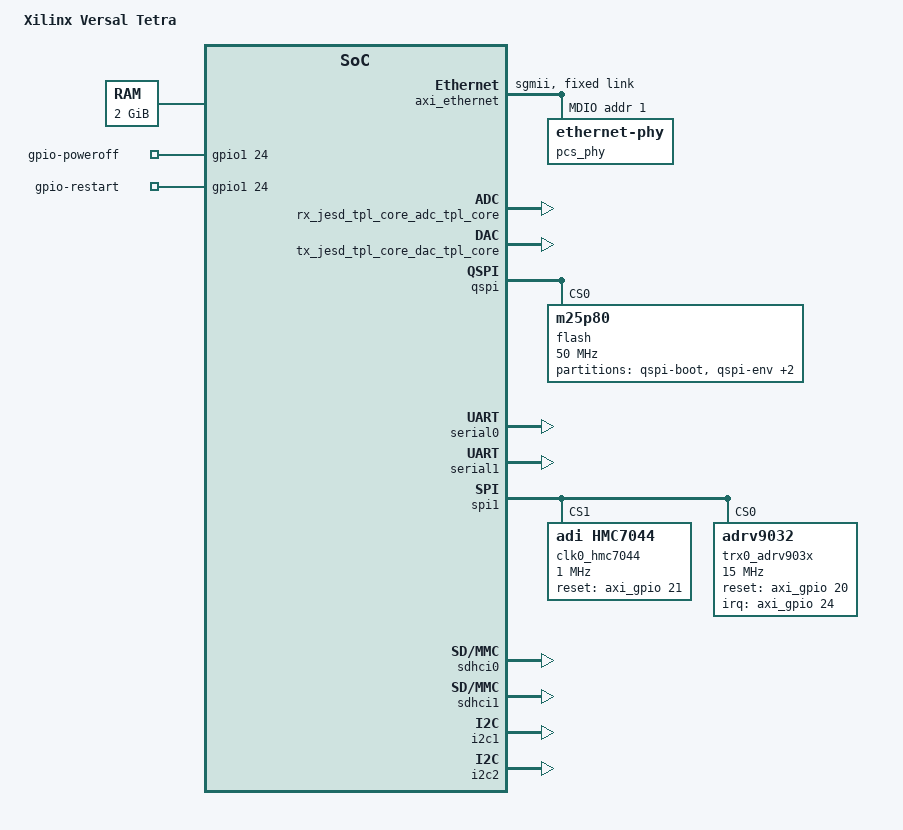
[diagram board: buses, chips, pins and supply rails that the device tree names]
// SPDX-License-Identifier: GPL-2.0
/*
 * dts file for Xilinx Versal Tetra
 *
 * (C) Copyright 2026, Analog Devices Inc.
 */

#include "versal.dtsi"
#include "versal-clk.dtsi"
#include <dt-bindings/interrupt-controller/irq.h>
#include <dt-bindings/iio/adc/adi,adrv903x.h>
#include <dt-bindings/iio/frequency/hmc7044.h>

/* RX path */
#define ADRV903X_RX_LANERATE_KHZ 16220160
#define ADRV903X_RX_LINK_CLK	245760000

/* TX path */
#define ADRV903X_TX_LANERATE_KHZ 16220160
#define ADRV903X_TX_LINK_CLK	245760000

#define ADRV903X_RX_DEVICE_CLK  122880000

/ {
	compatible = "xlnx,versal-tetra", "xlnx,versal";
	model = "Xilinx Versal Tetra";

	memory: memory@0 {
		device_type = "memory";
		reg = <0 0 0 0x80000000>;  /* 2GB */
	};

	chosen {
		bootargs = "console=ttyAMA1,115200 earlycon=pl011,mmio32,0xFF010000,115200n8 root=/dev/mmcblk0p2 rw rootfstype=ext4 rootwait";
		stdout-path = "serial1:115200";
	};

	gpio-poweroff {
		compatible = "gpio-poweroff";
		gpios = <&gpio1 24 0>;
	};

	gpio-restart {
		compatible = "gpio-restart";
		gpios = <&gpio1 24 0>;
	};


	aliases {
		serial0 = &serial0;
		serial1 = &serial1;
		spi0 = &qspi;
		spi1 = &spi1;
		mmc0 = &sdhci0;
		mmc1 = &sdhci1;
		ethernet0 = &axi_ethernet;
	};
};

&qspi {
	status = "okay";
	is-dual = <0>;
	num-cs = <1>;
	spi-rx-bus-width = <4>;
	spi-tx-bus-width = <4>;

	flash@0 {
		compatible = "m25p80", "jedec,spi-nor"; /* MT25QU02GCBB8E12-0AUT 2Gib */
		#address-cells = <1>;
		#size-cells = <1>;
		reg = <0>;
		spi-tx-bus-width = <4>;
		spi-rx-bus-width = <4>;
		spi-max-frequency = <50000000>;

		partition@0 {
			label = "qspi-boot";
			reg = <0x0 0x800000>; /* 8MB - boot.bin */
		};
		partition@800000 {
			label = "qspi-env";
			reg = <0x800000 0x40000>; /* 256KB - U-Boot env */
		};
		partition@840000 {
			label = "qspi-kernel";
			reg = <0x840000 0x17C0000>; /* ~23.75MB - kernel/dtb */
		};
		partition@2000000 {
			label = "qspi-data";
			reg = <0x2000000 0xE000000>; /* 224MB - data/rootfs */
		};
	};
};

&serial0 {
	status = "okay";
};

&serial1 {
	status = "okay";
};

&spi1 {
	is-decoded-cs = <0>;
	num-cs = <2>;
	status = "okay";
};

/* Enable SD card controllers */
&sdhci0 {
	status = "okay";
	xlnx,mio-bank = <0>;
	no-1-8-v;
};

&sdhci1 {
	status = "okay";
	xlnx,mio-bank = <1>;
	no-1-8-v;
};

&gpio1 {
	status = "okay";
};

&i2c1 {
	status = "okay";
};

&i2c2 {
	status = "okay";
};

&gem0 {
	status = "disabled";
};

&gem1 {
	status = "disabled";
};

&spi1 {
	status = "okay";

	clk0_hmc7044: hmc7044@1 {
		#address-cells = <1>;
		#size-cells = <0>;
		#clock-cells = <1>;
		compatible = "adi,hmc7044";
		reg = <1>;
		spi-max-frequency = <1000000>;

		jesd204-device;
		#jesd204-cells = <2>;
		jesd204-sysref-provider;

		adi,jesd204-max-sysref-frequency-hz = <2000000>; /* 2 MHz */

		adi,pll1-clkin-frequencies = <0 0 0 0>;
		adi,vcxo-frequency = <122880000>;

		adi,pll1-ref-prio-ctrl = <0xE4>; /* prefer CLKIN0 -> CLKIN1 -> CLKIN2 -> CLKIN3 */
		adi,pll1-ref-autorevert-enable;

		adi,pll1-loop-bandwidth-hz = <200>;
		adi,pfd1-maximum-limit-frequency-hz = <30720000>;
		adi,pll1-charge-pump-current-ua = <1920>;

		adi,pll2-output-frequency = <2949120000>;

		adi,sysref-timer-divider = <1024>;
		adi,pulse-generator-mode = <HMC7044_PULSE_GEN_8_PULSE>;

		adi,clkin0-buffer-mode  = <0x06>;
		adi,clkin1-buffer-mode  = <0x06>;
		adi,oscin-buffer-mode = <0x07>;

		adi,gpi-controls = <0x00 0x00 0x00 0x00>;
		adi,gpo-controls = <0x37 0x33 0x00 0x00>;

		clock-output-names =
		"hmc7044_out0", "hmc7044_out1", "hmc7044_out2",
		"hmc7044_out3", "hmc7044_out4", "hmc7044_out5",
		"hmc7044_out6", "hmc7044_out7", "hmc7044_out8",
		"hmc7044_out9", "hmc7044_out10", "hmc7044_out11",
		"hmc7044_out12", "hmc7044_out13";

		hmc7044_c0: channel@0 {
			reg = <0>;
			adi,extended-name = "DEV_CLK";
			adi,divider = <6>;
			adi,driver-mode = <HMC7044_DRIVER_MODE_LVDS>;
		};
		hmc7044_c1: channel@1 {
			reg = <1>;
			adi,extended-name = "DEV_SYSREF";
			adi,divider = <3072>;
			adi,driver-mode = <HMC7044_DRIVER_MODE_LVPECL>;
			adi,startup-mode-dynamic-enable;
			adi,high-performance-mode-disable;
			adi,jesd204-sysref-chan;
		};
		hmc7044_c6: channel@6 {
			reg = <6>;
			adi,extended-name = "FPGA_CORE_REFCLK";
			adi,divider = <12>;
			adi,driver-mode = <HMC7044_DRIVER_MODE_LVDS>;
		};
		hmc7044_c7: channel@7 {
			reg = <7>;
			adi,extended-name = "FPGA_CORE_SYSREF";
			adi,divider = <3072>;
			adi,driver-mode = <HMC7044_DRIVER_MODE_LVDS>;
		};
		hmc7044_c12: channel@12 {
			reg = <12>;
			adi,extended-name = "FPGA_REFCLK";
			adi,divider = <12>;
			adi,driver-mode = <HMC7044_DRIVER_MODE_LVDS>;
		};
	};

	trx0_adrv903x: adrv903x-phy@0 {
		compatible = "adrv9032";
		reg = <0>;

		#address-cells = <1>;
		#size-cells = <0>;

		/* SPI Setup */
		spi-max-frequency = <15000000>;

		interrupt-parent = <&axi_gpio>;
		interrupts = <24 IRQ_TYPE_EDGE_RISING>; /* adrv903x_gpint1 - CHECK */

		/* Clocks */
		clocks = <&clk0_hmc7044 0>;

		clock-names = "dev_clk";

		clock-output-names = "rx_sampl_clk", "tx_sampl_clk";
		#clock-cells = <1>;

		jesd204-device;
		#jesd204-cells = <2>;
		jesd204-top-device = <0>; /* This is the TOP device */
		jesd204-link-ids = <DEFRAMER0_LINK_TX FRAMER0_LINK_RX>;
		jesd204-ignore-errors;

		jesd204-inputs =
			<&axi_jesd_rx_rx_axi 0 FRAMER0_LINK_RX>,
			<&axi_jesd_tx_tx_axi 0 DEFRAMER0_LINK_TX>;

		adi,device-config-name = "ADRV9030_DeviceProfileTest_lanemap.bin";
		adi,arm-firmware-name = "ADRV9030_FW.bin";
		adi,stream-firmware-name = "ADRV9030_stream_image_lanemap.bin";
		adi,rx-gaintable-names = "ADRV9030_RxGainTable.csv";
		adi,rx-gaintable-channel-masks = <0x0F>;
		//adi,tx-attntable-names = "ADRV903X_TxAttenTable.csv";
		//adi,tx-attntable-channel-masks = <0x0F>;
	};
};

/* PL AXI bus */
/ {
	amba_pl: amba_pl {
		#address-cells = <2>;
		#size-cells = <2>;
		compatible = "simple-bus";
		ranges;

		axi_gpio: gpio@a4000000 {
			#gpio-cells = <2>;
			#interrupt-cells = <2>;
			clock-names = "s_axi_aclk";
			clocks = <&versal_clk 65>;
			compatible = "xlnx,axi-gpio-2.0", "xlnx,xps-gpio-1.00.a";
			gpio-controller ;
			interrupt-controller ;
			interrupt-names = "ip2intc_irpt";
			interrupt-parent = <&gic>;
			interrupts = <0 84 IRQ_TYPE_LEVEL_HIGH>;
			reg = <0x0 0xa4000000 0x0 0x1000>;
			xlnx,all-inputs = <0x0>;
			xlnx,all-inputs-2 = <0x0>;
			xlnx,all-outputs = <0x0>;
			xlnx,all-outputs-2 = <0x0>;
			xlnx,dout-default = <0x00000000>;
			xlnx,dout-default-2 = <0x00000000>;
			xlnx,gpio-width = <0x20>;
			xlnx,gpio2-width = <0x20>;
			xlnx,interrupt-present = <0x1>;
			xlnx,is-dual = <0x1>;
			xlnx,tri-default = <0xFFFFFFFF>;
			xlnx,tri-default-2 = <0xFFFFFFFF>;
		};

		axi_jesd_rx_dma: axi_dmac@bc420000 {
			compatible = "adi,axi-dmac-1.00.a";
			reg = <0x0 0xbc420000 0x0 0x1000>;
			#dma-cells = <1>;
			#clock-cells = <0>;
			interrupt-names = "irq";
			interrupt-parent = <&gic>;
			clocks = <&versal_clk PMC_PL1_REF>;
			interrupts = <0 97 IRQ_TYPE_LEVEL_HIGH>;

			adi,channels {
				#size-cells = <0>;
				#address-cells = <1>;

				dma-channel@0 {
					reg = <0>;
					adi,source-bus-type = <2>;
					adi,destination-bus-type = <0>;
				};
			};
		};

		axi_jesd_tx_dma: axi_dmac@bc430000 {
			compatible = "adi,axi-dmac-1.00.a";
			reg = <0x0 0xbc430000 0x0 0x1000>;
			#dma-cells = <1>;
			#clock-cells = <0>;
			clocks = <&versal_clk PMC_PL1_REF>;
			interrupt-names = "irq";
			interrupt-parent = <&gic>;
			interrupts = <0 96 IRQ_TYPE_LEVEL_HIGH>;

			adi,channels {
				#size-cells = <0>;
				#address-cells = <1>;

				dma-channel@0 {
					reg = <0>;
					adi,source-bus-type = <0>;
					adi,destination-bus-type = <1>;
				};
			};
		};

		axi_jesd_tx_tx_axi: axi_jesd204_tx@a4b90000 {
			compatible = "adi,axi-jesd204-tx-1.0";
			reg = <0x0 0xa4b90000 0x0 0x4000>;

			interrupt-names = "irq";
			interrupt-parent = <&gic>;
			interrupts = <0 94 IRQ_TYPE_LEVEL_HIGH>;

			clock-names = "s_axi_aclk", "device_clk", "link_clk", "lane_clk";
			clocks = <&versal_clk PMC_PL0_REF>, <&tx_fixed_link_clk>, <&tx_fixed_link_clk>, <&tx_fixed_lanerate>;

			#clock-cells = <0>;
			clock-output-names = "jesd_tx_lane_clk";

			jesd204-device;
			#jesd204-cells = <2>;
			jesd204-inputs = <&clk0_hmc7044 0 DEFRAMER0_LINK_TX>;

			reset-done-gpios = <&axi_gpio 33 0>;
			pll-datapath-reset-gpios = <&axi_gpio 37 0>;
			datapath-reset-gpios = <&axi_gpio 39 0>;
		};

		axi_jesd_rx_rx_axi: axi_jesd204_rx@a4a90000 {
			compatible = "adi,axi-jesd204-rx-1.0";
			reg = <0x0 0xa4a90000 0x0 0x4000>;

			interrupt-names = "irq";
			interrupt-parent = <&gic>;
			interrupts = <0 95 IRQ_TYPE_LEVEL_HIGH>;

			clock-names = "s_axi_aclk", "device_clk", "link_clk", "lane_clk";
			clocks = <&versal_clk PMC_PL0_REF>, <&rx_fixed_device_clk>, <&rx_fixed_link_clk>, <&rx_fixed_lanerate>;

			#clock-cells = <0>;
			clock-output-names = "jesd_rx_lane_clk";

			jesd204-device;
			#jesd204-cells = <2>;
			jesd204-inputs = <&clk0_hmc7044 0 FRAMER0_LINK_RX>;

			reset-done-gpios = <&axi_gpio 32 0>;
			pll-datapath-reset-gpios = <&axi_gpio 36 0>;
			datapath-reset-gpios = <&axi_gpio 38 0>;
		};

		/* AXI Ethernet + DMA — SGMII to ADIN1320 PHY */
		axi_ethernet_dma: dma@a6e10000 {
			#dma-cells = <1>;
			axistream-connected = <&axi_ethernet>;
			axistream-control-connected = <&axi_ethernet>;
			clock-names = "m_axi_mm2s_aclk", "m_axi_s2mm_aclk", "m_axi_sg_aclk", "s_axi_lite_aclk";
			clocks = <&versal_clk 65>, <&versal_clk 65>, <&versal_clk 65>, <&versal_clk 65>;
			compatible = "xlnx,eth-dma";
			interrupt-names = "mm2s_introut", "s2mm_introut";
			interrupt-parent = <&gic>;
			interrupts = <0 86 IRQ_TYPE_LEVEL_HIGH 0 87 IRQ_TYPE_LEVEL_HIGH>;
			reg = <0x0 0xa6e10000 0x0 0x1000>;
			xlnx,addrwidth = /bits/ 8 <0x20>;
			xlnx,include-dre;
			xlnx,num-queues = /bits/ 16 <0x1>;
		};

		axi_ethernet: ethernet@a5e00000 {
			axistream-connected = <&axi_ethernet_dma>;
			axistream-control-connected = <&axi_ethernet_dma>;
			clock-frequency = <100000000>;
			clock-names = "axis_clk", "clk125m", "s_axi_lite_clk";
			clocks = <&versal_clk 65>, <&misc_clk_0>, <&versal_clk 65>;
			compatible = "xlnx,axi-ethernet-7.2", "xlnx,axi-ethernet-1.00.a";
			device_type = "network";
			interrupt-names = "interrupt";
			interrupt-parent = <&gic>;
			interrupts = <0 85 IRQ_TYPE_LEVEL_HIGH>;
			local-mac-address = [00 0a 35 00 00 00];
			max-speed = <1000>;
			phy-mode = "sgmii";
			/* phy-handle removed: phylib re-enables AN on link events,
			 * undoing SGMII AN disable. Using fixed-link instead. */
			// phy-handle = <&adin_phy>;
			pcs-handle = <&pcs_phy>;
			reg = <0x0 0xa5e00000 0x0 0x40000>;
			xlnx,axiliteclkrate = <0x0>;
			xlnx,axisclkrate = <0x0>;
			xlnx,channel-ids = "1";
			xlnx,clockselection = <0x0>;
			xlnx,enableasyncsgmii = <0x1>;
			xlnx,gt-type = <0x0>;
			xlnx,gtinex = <0x0>;
			xlnx,gtlocation = <0x0>;
			xlnx,gtrefclksrc = <0x0>;
			xlnx,include-dre;
			xlnx,instantiatebitslice0 = <0x0>;
			xlnx,num-queues = /bits/ 16 <0x1>;
			xlnx,phyaddr = <0x1>;
			xlnx,phyrst-board-interface-dummy-port = <0x0>;
			xlnx,rable = <0x0>;
			xlnx,rxcsum = <0x2>;
			xlnx,rxlane0-placement = <0x2>;
			xlnx,rxlane1-placement = <0x0>;
			xlnx,rxmem = <0x2000>;
			xlnx,rxnibblebitslice0used = <0x0>;
			xlnx,switch-x-sgmii;
			xlnx,tx-in-upper-nibble = <0x0>;
			xlnx,txcsum = <0x2>;
			xlnx,txlane0-placement = <0x2>;
			xlnx,txlane1-placement = <0x0>;
			xlnx,versal-gt-board-flow = <0x0>;

			fixed-link {
				speed = <1000>;
				full-duplex;
			};

			axi_ethernet_mdio: mdio {
				#address-cells = <1>;
				#size-cells = <0>;
				clock-frequency = <1000000>;

				pcs_phy: ethernet-phy@1 {
					reg = <1>;
				};

				// adin_phy: ethernet-phy@8 {
				// 	reg = <8>;
				// 	compatible = "ethernet-phy-id0283.bc30";
				// };
			};
		};

		axi_timer: timer@a4c00000 {
			clock-frequency = <99999908>;
			clock-names = "s_axi_aclk";
			clocks = <&versal_clk 65>;
			compatible = "xlnx,axi-timer-2.0", "xlnx,xps-timer-1.00.a";
			interrupt-names = "interrupt";
			interrupt-parent = <&gic>;
			interrupts = <0 88 4>;
			reg = <0x0 0xa4c00000 0x0 0x1000>;
			xlnx,count-width = <0x20>;
			xlnx,gen0-assert = <0x1>;
			xlnx,gen1-assert = <0x1>;
			xlnx,one-timer-only = <0x0>;
			xlnx,trig0-assert = <0x1>;
			xlnx,trig1-assert = <0x1>;
		};

		axi_sysid_0: axi_sysid@a5000000 {
			compatible = "adi,axi-sysid-1.00.a";
			reg = <0x0 0xa5000000 0x0 0x10000>;
		};

		clocks {
			rx_fixed_lanerate: clock@0 {
				#clock-cells = <0>;
				compatible = "fixed-clock";
				clock-frequency = <ADRV903X_RX_LANERATE_KHZ>;
				clock-output-names = "rx_lane_clk";
			};

			tx_fixed_lanerate: clock@1 {
				#clock-cells = <0>;
				compatible = "fixed-clock";
				clock-frequency = <ADRV903X_TX_LANERATE_KHZ>;
				clock-output-names = "tx_lane_clk";
			};

			rx_fixed_link_clk: clock@2 {
				#clock-cells = <0>;
				compatible = "fixed-clock";
				clock-frequency = <ADRV903X_RX_LINK_CLK>;
				clock-output-names = "rx_link_clk";
			};

			tx_fixed_link_clk: clock@3 {
				#clock-cells = <0>;
				compatible = "fixed-clock";
				clock-frequency = <ADRV903X_TX_LINK_CLK>;
				clock-output-names = "tx_link_clk";
			};

			rx_fixed_device_clk: clock@4 {
				#clock-cells = <0>;
				compatible = "fixed-clock";
				clock-frequency = <ADRV903X_RX_DEVICE_CLK>;
				clock-output-names = "rx_device_clk";
			};
		};

		jesd_tx_data_offload_i_data_offload: data_offload@bc440000 {
			compatible = "adi,axi-data-offload-1.0.a";
			reg = <0x0 0xbc440000 0x0 0x10000>;
		};

		jesd_rx_data_offload_i_data_offload: data_offload@bc450000 {
			compatible = "adi,axi-data-offload-1.0.a";
			reg = <0x0 0xbc450000 0x0 0x10000>;
		};

		rx_jesd_tpl_core_adc_tpl_core: ad_ip_jesd204_tpl_adc@0xa4b10000 {
			compatible = "adi,axi-adc-legacy-10.0.a";
			reg = <0x0 0xa4b10000 0x0 0x6000>;

			dmas = <&axi_jesd_rx_dma 0>;
			dma-names = "rx";
			clocks = <&trx0_adrv903x 1>;
			spibus-connected = <&trx0_adrv903x>;
		};

		tx_jesd_tpl_core_dac_tpl_core: ad_ip_jesd204_tpl_dac@0xa4b14000 {
			compatible = "adi,axi-adrv903x-tx-1.0";
			reg = <0x0 0xa4b14000 0x0 0x2000>;

			dmas = <&axi_jesd_tx_dma 0>;
			dma-names = "tx";
			clocks = <&trx0_adrv903x 1>;
			clock-names = "sampl_clk";

			jesd204-device;
			#jesd204-cells = <2>;
			jesd204-inputs = <&axi_jesd_tx_tx_axi 0 DEFRAMER0_LINK_TX>;
		};
	};

	/* Clock for AXI Ethernet clk125m */
	misc_clk_0: misc_clk_0 {
		#clock-cells = <0>;
		clock-frequency = <125000000>;
		compatible = "fixed-clock";
	};
	/* misc_clk_1 and misc_clk_2 were for 1000base-x userclk/refclk — no longer needed */
};

&trx0_adrv903x {
	reset-gpios = <&axi_gpio 20 0>; // 52
};

&clk0_hmc7044 {
	reset-gpios = <&axi_gpio 21 0>; // 53
};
